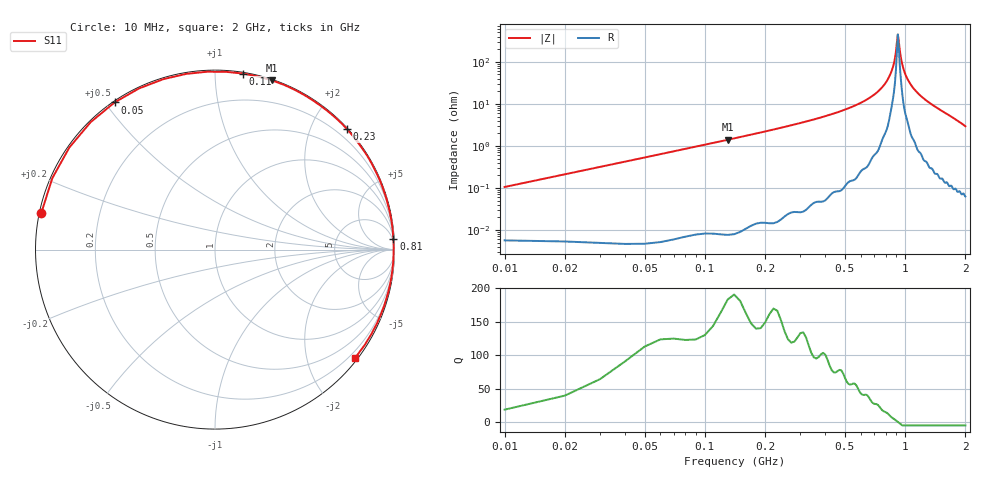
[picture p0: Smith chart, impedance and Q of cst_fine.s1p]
! H_s8_cap_10: PDN loop: BGA pin field to a 0402 capacitor 10 mm away
! stackup: 8-layer 1.6 mm FR-4 (generic)
! ports: 1 IC pins
! CST Studio Suite 2025.5 Release from 2025-05-30, time domain (FIT, hexahedral, PBA), 196416 mesh cells, 197 s
! mesh: {'lpw': 30.0, 'lpb': 30.0, 'minstep': 0.0, 'ratio': 20}; ports: port 1 (edge)
! interpolated from CST's 1001 samples to the case grid
# Hz S RI R 1
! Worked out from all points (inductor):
!   200 points, 10 MHz to 2 GHz, reference 1 ohm
!   read as one part to ground: L = 1.67 nH near 20 MHz
!   highest Q = 181 at 130 MHz (marker M1), where L = 1.71 nH
!   self-resonance near 920 MHz
!   S11 on the Smith chart (normalised r, x): 10 MHz: 0.01, +0.10; 50 MHz: 0.00, +0.53; 110 MHz: 0.01, +1.17; 230 MHz: 0.02, +2.57; 810 MHz: 2, +35; 2 GHz: 0.06, -2.93
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1e7  -0.9674 0.2052
2e7  -0.9063 0.3982
3e7  -0.8117 0.5688
4e7  -0.6927 0.7103
5e7  -0.5597 0.8199
6e7  -0.4222 0.8985
7e7  -0.2876 0.9498
8e7  -0.1607 0.9789
9e7  -0.0441 0.991
1.1e8  0.1569 0.9807
1.3e8  0.3186 0.9424
1.5e8  0.446 0.8895
1.7e8  0.5444 0.8321
2e8  0.6541 0.7498
2.3e8  0.734 0.6732
2.6e8  0.7907 0.6042
3.1e8  0.8567 0.5084
3.6e8  0.8982 0.4292
4.3e8  0.9358 0.34
5.1e8  0.9613 0.2596
7.6e8  0.9921 0.0843
8.1e8  0.9943 0.0571
1.01e9  0.9943 -0.0427
1.26e9  0.982 -0.1574
1.51e9  0.9536 -0.2783
1.76e9  0.8966 -0.4224
1.9e9  0.8409 -0.5206
2e9  0.7811 -0.6035
